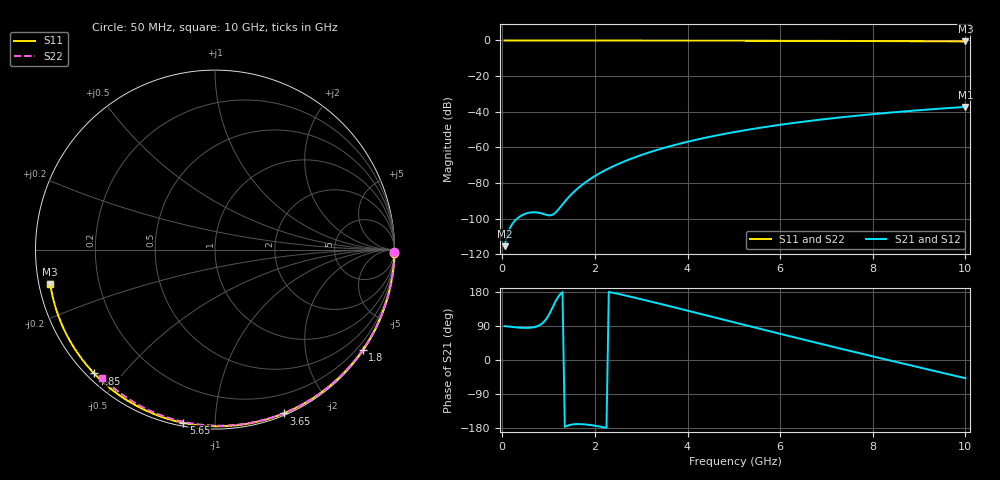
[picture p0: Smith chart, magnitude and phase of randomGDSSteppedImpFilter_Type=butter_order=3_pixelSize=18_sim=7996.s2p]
! freq	dB(S11)	phase(S11)	dB(S12)	phase(S12)
!  dB(S21)	phase(S21)	dB(S22)	phase(S22)
!S-par simulation data
#  GHz  S  DB  R 50
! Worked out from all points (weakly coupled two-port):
!   200 points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, 50 MHz to 10 GHz, reference 50 ohm
!   highest |S21| = -37.28 dB at 10 GHz (marker M1); lowest = -115.4 dB at 50 MHz (marker M2)
!   lowest |S11| = -0.6 dB at 10 GHz (marker M3), VSWR 31.26, Z = 1.62 - j5.23 ohm
!   |S11| at or under -10 dB: nowhere
!   |S22| runs from -0.4 to 0.0 dB; largest |S21 - S12| = 0
!   S11 on the Smith chart (normalised r, x): 50 MHz: open; 1.8 GHz: 0.03, -3.25; 3.65 GHz: 0.02, -1.50; 5.65 GHz: 0.02, -0.83; 7.85 GHz: 0.02, -0.42; 10 GHz: 0.03, -0.10
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0.05  -0.00 -1.0  -115.41 89.4  -115.41 89.4  -0.00 -0.8
0.45  -0.01 -8.7  -97.73 84.7  -97.73 84.7  -0.01 -6.8
0.85  -0.02 -16.3  -97.03 95.5  -97.03 95.5  -0.02 -12.8
1.3  -0.03 -24.8  -91.96 179.3  -91.96 179.3  -0.02 -19.5
1.75  -0.04 -33.2  -80.46 -169.6  -80.46 -169.6  -0.03 -26.2
1.8  -0.04 -34.2  -79.50 -170.1  -79.50 -170.1  -0.03 -26.9
2.1  -0.05 -39.7  -74.53 -175.5  -74.53 -175.5  -0.04 -31.3
2.3  -0.06 -43.4  -71.78 179.8  -71.78 179.8  -0.04 -34.2
2.5  -0.06 -47.0  -69.35 174.5  -69.35 174.5  -0.05 -37.1
2.9  -0.07 -54.2  -65.20 163.3  -65.20 163.3  -0.06 -42.8
3.4  -0.08 -63.0  -60.97 148.4  -60.97 148.4  -0.07 -49.8
3.65  -0.09 -67.3  -59.14 140.9  -59.14 140.9  -0.07 -53.3
4.35  -0.11 -79.2  -54.76 119.4  -54.76 119.4  -0.09 -62.9
5.05  -0.14 -90.7  -51.21 98.0  -51.21 98.0  -0.11 -72.1
5.65  -0.17 -100.3  -48.64 79.6  -48.64 79.6  -0.13 -79.9
6.15  -0.19 -108.2  -46.77 64.5  -46.77 64.5  -0.15 -86.2
6.7  -0.23 -116.7  -44.93 47.9  -44.93 47.9  -0.18 -93.0
7.25  -0.27 -125.2  -43.30 31.6  -43.30 31.6  -0.21 -99.6
7.85  -0.32 -134.3  -41.72 13.9  -41.72 13.9  -0.25 -106.7
8.35  -0.36 -142.0  -40.53 -0.7  -40.53 -0.7  -0.29 -112.6
9.2  -0.45 -155.1  -38.73 -25.2  -38.73 -25.2  -0.36 -122.3
10  -0.56 -168.1  -37.28 -48.1  -37.28 -48.1  -0.44 -131.4
